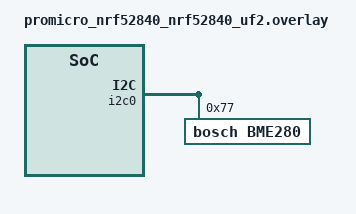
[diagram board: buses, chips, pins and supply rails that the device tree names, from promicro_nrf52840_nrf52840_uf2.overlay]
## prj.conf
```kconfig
CONFIG_BT=y
CONFIG_BT_PERIPHERAL=y
CONFIG_BT_DEVICE_NAME="nRF sensor"
CONFIG_LOG=y
CONFIG_FLASH_LOAD_SIZE=0xF3000
CONFIG_I2C=y
CONFIG_SENSOR=y
CONFIG_BME280=y
```

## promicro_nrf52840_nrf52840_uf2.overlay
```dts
&i2c0 {
    status = "okay";

    bme280@77 {
        compatible = "bosch,bme280";
        reg = <0x77>;
    };
};
```

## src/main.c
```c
#include <zephyr/types.h>
#include <stddef.h>
#include <zephyr/sys/printk.h>
#include <zephyr/sys/util.h>
#include <zephyr/bluetooth/bluetooth.h>
#include <zephyr/bluetooth/hci.h>
#include <zephyr/kernel.h>
#include <zephyr/device.h>
#include <zephyr/drivers/sensor.h>

#define COMPANY_ID_LOW  0xFF
#define COMPANY_ID_HIGH 0xFF

static uint8_t manuf_data[4] = {
    COMPANY_ID_LOW, COMPANY_ID_HIGH,
    0, 0,  /* 0.01°C, int16 */
};

static struct bt_data ad[] = {
    BT_DATA_BYTES(BT_DATA_FLAGS, BT_LE_AD_NO_BREDR),
    BT_DATA(BT_DATA_MANUFACTURER_DATA, manuf_data, sizeof(manuf_data)),
};

static const struct bt_data sd[] = {
    BT_DATA_BYTES(BT_DATA_NAME_COMPLETE, 'n', 'R', 'F', 'S', 'e', 'n', 's', 'o', 'r'),
};

static void update_adv_data(struct sensor_value *temp)
{
    int16_t t = (int16_t)(temp->val1 * 100 + temp->val2 / 10000);
    manuf_data[2] = (t >> 8) & 0xFF;
    manuf_data[3] = t & 0xFF;
    bt_le_adv_update_data(ad, ARRAY_SIZE(ad), sd, ARRAY_SIZE(sd));
}

int main(void)
{
    int err;

    const struct device *dev = DEVICE_DT_GET_ANY(bosch_bme280);
    if (!device_is_ready(dev)) {
        printk("Sensor not available\n");
        return -1;
    }
    printk("Sensor OK\n");

    err = bt_enable(NULL);
    if (err) {
        printk("BLE init failed (err %d)\n", err);
        return -1;
    }
    printk("BLE OK\n");

    /* Start advertising */
    err = bt_le_adv_start(BT_LE_ADV_NCONN_IDENTITY, ad, ARRAY_SIZE(ad),
                          sd, ARRAY_SIZE(sd));
    if (err) {
        printk("Advertising failed (err %d)\n", err);
        return -1;
    }
    printk("Advertising started\n");

    while (1) {
        struct sensor_value temp;

        sensor_sample_fetch(dev);
        sensor_channel_get(dev, SENSOR_CHAN_AMBIENT_TEMP, &temp);
		printk("Temp: %d.%02d C\n", temp.val1, temp.val2 / 10000);
		update_adv_data(&temp);

        k_sleep(K_MSEC(2000));
    }

    return 0;
}
```
